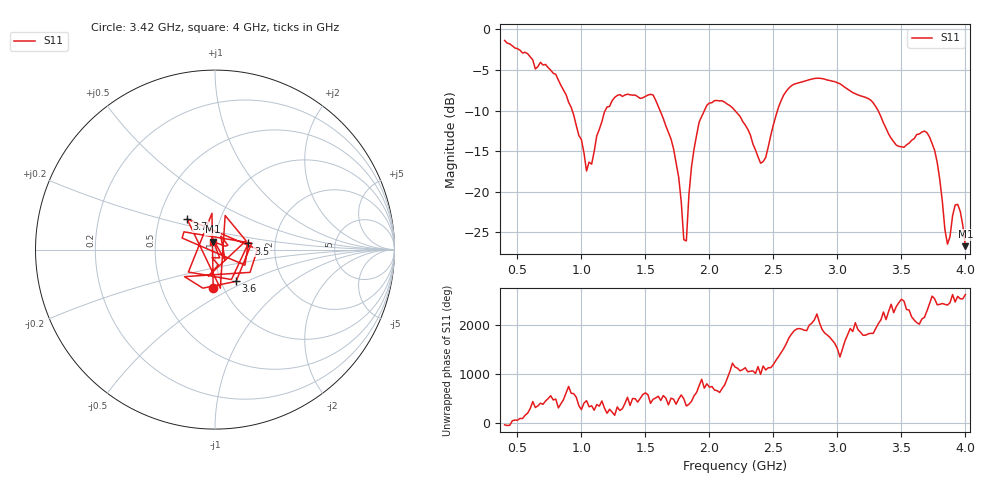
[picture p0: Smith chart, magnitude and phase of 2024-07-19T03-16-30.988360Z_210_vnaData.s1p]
!Created with skrf (http://scikit-rf.org).
# Hz S RI R 50.0
!freq ReS11 ImS11
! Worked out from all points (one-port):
!   181 points, 400 MHz to 4 GHz, reference 50 ohm
!   lowest |S11| = -26.7 dB at 4 GHz (marker M1), VSWR 1.10, Z = 48.6 + j4.34 ohm
!   |S11| at or under -10 dB: 1.615 GHz to 1.96 GHz (345.9 MHz wide, 19.3 % of centre); 2.2 GHz to 2.532 GHz (332 MHz wide, 14 % of centre); 3.318 GHz to end of sweep (the widest 3 of 4)
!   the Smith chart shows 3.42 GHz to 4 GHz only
!   S11 on the Smith chart (normalised r, x): 3.42 GHz: 0.90, -0.40; 3.5 GHz: 1.45, +0.10; 3.6 GHz: 1.18, -0.44; 3.7 GHz: 0.69, +0.25; 4 GHz: 0.97, +0.09
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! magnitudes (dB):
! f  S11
! 400 MHz  -1.4
! 860 MHz  -7.5
! 1.04 GHz  -17.4
! 1.18 GHz  -10.2
! 1.3 GHz  -8.0
! 1.56 GHz  -8.1
! 1.7 GHz  -13.5
! 1.76 GHz  -18.2
! 1.8 GHz  -25.9
! 1.82 GHz  -26.1
! 1.86 GHz  -17.0
! 1.92 GHz  -11.4
! 2.04 GHz  -8.8
! 2.2 GHz  -10.0
! 2.4 GHz  -16.5
! 2.56 GHz  -8.8
! 2.66 GHz  -6.8
! 3.1 GHz  -7.6
! 3.28 GHz  -9.0
! 3.42 GHz  -13.4
! 3.5 GHz  -14.5
! 3.56 GHz  -14.0
! 3.6 GHz  -13.5
! 3.7 GHz  -12.7
! 3.78 GHz  -16.4
! 3.86 GHz  -26.5
! 3.94 GHz  -21.6
! 4 GHz  -26.7
